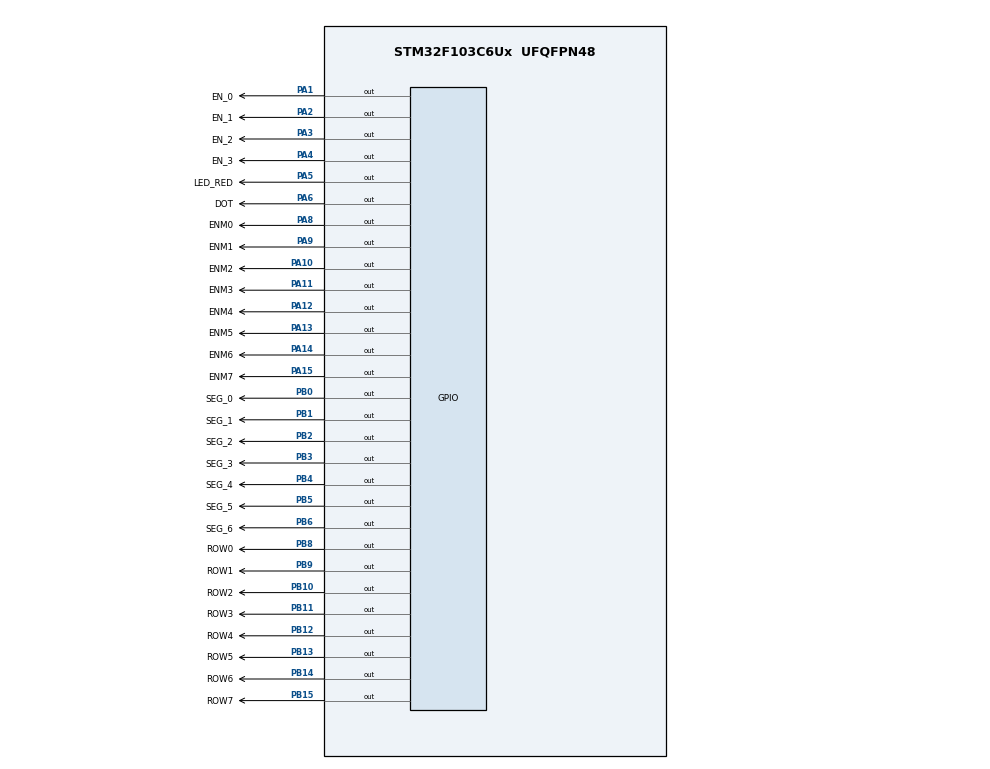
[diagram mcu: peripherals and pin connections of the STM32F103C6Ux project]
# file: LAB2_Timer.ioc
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Mcu.Family=STM32F1
Mcu.Name=STM32F103C6Ux
Mcu.Package=UFQFPN48
NVIC.PriorityGroup=NVIC_PRIORITYGROUP_4
NVIC.TIM2_IRQn=true\:0\:0\:false\:false\:true\:true\:true
PA1.GPIO_Label=EN_0
PA1.Signal=GPIO_Output
PA10.GPIO_Label=ENM2
PA10.PinState=GPIO_PIN_RESET
PA10.Signal=GPIO_Output
PA11.GPIO_Label=ENM3
PA11.PinState=GPIO_PIN_RESET
PA11.Signal=GPIO_Output
PA12.GPIO_Label=ENM4
PA12.PinState=GPIO_PIN_RESET
PA12.Signal=GPIO_Output
PA13.GPIO_Label=ENM5
PA13.PinState=GPIO_PIN_RESET
PA13.Signal=GPIO_Output
PA14.GPIO_Label=ENM6
PA14.PinState=GPIO_PIN_RESET
PA14.Signal=GPIO_Output
PA15.GPIO_Label=ENM7
PA15.PinState=GPIO_PIN_RESET
PA15.Signal=GPIO_Output
PA2.GPIO_Label=EN_1
PA2.Signal=GPIO_Output
PA3.GPIO_Label=EN_2
PA3.Signal=GPIO_Output
PA4.GPIO_Label=EN_3
PA4.Signal=GPIO_Output
PA5.GPIO_Label=LED_RED
PA5.Signal=GPIO_Output
PA6.GPIO_Label=DOT
PA6.Signal=GPIO_Output
PA8.GPIO_Label=ENM0
PA8.PinState=GPIO_PIN_RESET
PA8.Signal=GPIO_Output
PA9.GPIO_Label=ENM1
PA9.PinState=GPIO_PIN_RESET
PA9.Signal=GPIO_Output
PB0.GPIO_Label=SEG_0
PB0.Signal=GPIO_Output
PB1.GPIO_Label=SEG_1
PB1.Signal=GPIO_Output
PB10.GPIO_Label=ROW2
PB10.Signal=GPIO_Output
PB11.GPIO_Label=ROW3
PB11.Signal=GPIO_Output
PB12.GPIO_Label=ROW4
PB12.Signal=GPIO_Output
PB13.GPIO_Label=ROW5
PB13.Signal=GPIO_Output
PB14.GPIO_Label=ROW6
PB14.Signal=GPIO_Output
PB15.GPIO_Label=ROW7
PB15.Signal=GPIO_Output
PB2.GPIO_Label=SEG_2
PB2.Signal=GPIO_Output
PB3.GPIO_Label=SEG_3
PB3.Signal=GPIO_Output
PB4.GPIO_Label=SEG_4
PB4.Signal=GPIO_Output
PB5.GPIO_Label=SEG_5
PB5.Signal=GPIO_Output
PB6.GPIO_Label=SEG_6
PB6.Signal=GPIO_Output
PB8.GPIO_Label=ROW0
PB8.Signal=GPIO_Output
PB9.GPIO_Label=ROW1
PB9.Signal=GPIO_Output
ProjectManager.HeapSize=0x200
ProjectManager.StackSize=0x400
ProjectManager.TargetToolchain=STM32CubeIDE
RCC.APB1Freq_Value=8000000
RCC.APB2Freq_Value=8000000
TIM2.Period=9
TIM2.Prescaler=7999
VP_SYS_VS_ND.Mode=No_Debug
VP_TIM2_VS_ClockSourceINT.Mode=Internal
board=custom

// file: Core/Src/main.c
/* USER CODE BEGIN Header */
/**
  ******************************************************************************
  * @file           : main.c
  * @brief          : Main program body
  ******************************************************************************
  * @attention
  *
  * <h2><center>&copy; Copyright (c) 2024 STMicroelectronics.
  * All rights reserved.</center></h2>
  *
  * This software component is licensed by ST under BSD 3-Clause license,
  * the "License"; You may not use this file except in compliance with the
  * License. You may obtain a copy of the License at:
  *                        opensource.org/licenses/BSD-3-Clause
  *
  ******************************************************************************
  */
/* USER CODE END Header */
#include "main.h"

/* USER CODE BEGIN Includes */
#include "exercise1.h"
#include "exercise2.h"
#include "exercise3.h"
#include "exercise4.h"
#include "exercise5.h"
#include "exercise6.h"
#include "exercise7.h"
#include "exercise8.h"
#include "exercise9.h"
#include "exercise10.h"
/* USER CODE END Includes */

/* USER CODE BEGIN PD */
#define RUN_EXERCISE 10
/* USER CODE END PD */

TIM_HandleTypeDef htim2;

void SystemClock_Config(void);
static void MX_GPIO_Init(void);
static void MX_TIM2_Init(void);
/* USER CODE BEGIN PFP */
void HAL_TIM_PeriodElapsedCallback(TIM_HandleTypeDef *htim);
void setTimer(int idx, int counter);
/* USER CODE END PFP */

int main(void)
{

  /* MCU Configuration--------------------------------------------------------*/

  /* Reset of all peripherals, Initializes the Flash interface and the Systick. */
  HAL_Init();

  /* Configure the system clock */
  SystemClock_Config();

  /* Initialize all configured peripherals */
  MX_GPIO_Init();
  MX_TIM2_Init();
  /* USER CODE BEGIN 2 */
  HAL_TIM_Base_Start_IT(&htim2);

  switch (RUN_EXERCISE)
  {
	  case 1:
		  exercise1_init();
		  break;
	  case 2:
		  exercise2_init();
		  break;
	  case 3:
		  exercise3_init();
		  break;
	  case 4:
		  exercise4_init();
		  break;
	  case 5:
		  exercise5_init();
		  break;
	  case 6:
		  exercise6_init();
		  break;
	  case 7:
		  exercise7_init();
		  break;
	  case 8:
		  exercise8_init();
		  break;
	  case 9:
		  exercise9_init();
		  break;
	  case 10:
		  exercise10_init();
		  break;
	  default:
		  // Do nothing
		  break;
  }
  /* USER CODE END 2 */

  /* Infinite loop */
  /* USER CODE BEGIN WHILE */
  while (1)
  {
	  switch (RUN_EXERCISE)
	  {
		  case 1:
//  	  		  exercise1_init();
			  exercise1_run();
			  break;
		  case 2:
  //			  exercise2_init();
			  exercise2_run();
			  break;
		  case 3:
  //			  exercise3_init();
			  exercise3_run();
			  break;
		  case 4:
  //			  exercise4_init();
			  exercise4_run();
			  break;
		  case 5:
  //			  exercise5_init();
			  exercise5_run();
			  break;
		  case 6:
  //			  exercise6_init();
			  exercise6_run();
			  break;
		  case 7:
//			  exercise7_init();
  			  exercise7_run();
			  break;
		  case 8:
//  			  exercise8_init();
			  exercise8_run();
			  break;
		  case 9:
  //			  exercise9_init();
			  exercise9_run();
			  break;
		  case 10:
  //			  exercise10_init();
			  exercise10_run();
			  break;
		  default:
			  // Do nothing
			  break;
	  }
    /* USER CODE END WHILE */

  }
}

void SystemClock_Config(void)
{
  RCC_OscInitTypeDef RCC_OscInitStruct = {0};
  RCC_ClkInitTypeDef RCC_ClkInitStruct = {0};

  /** Initializes the RCC Oscillators according to the specified parameters
  * in the RCC_OscInitTypeDef structure.
  */
  RCC_OscInitStruct.OscillatorType = RCC_OSCILLATORTYPE_HSI;
  RCC_OscInitStruct.HSIState = RCC_HSI_ON;
  RCC_OscInitStruct.HSICalibrationValue = RCC_HSICALIBRATION_DEFAULT;
  RCC_OscInitStruct.PLL.PLLState = RCC_PLL_NONE;
  if (HAL_RCC_OscConfig(&RCC_OscInitStruct) != HAL_OK)
  {
    Error_Handler();
  }
  /** Initializes the CPU, AHB and APB buses clocks
  */
  RCC_ClkInitStruct.ClockType = RCC_CLOCKTYPE_HCLK|RCC_CLOCKTYPE_SYSCLK
                              |RCC_CLOCKTYPE_PCLK1|RCC_CLOCKTYPE_PCLK2;
  RCC_ClkInitStruct.SYSCLKSource = RCC_SYSCLKSOURCE_HSI;
  RCC_ClkInitStruct.AHBCLKDivider = RCC_SYSCLK_DIV1;
  RCC_ClkInitStruct.APB1CLKDivider = RCC_HCLK_DIV1;
  RCC_ClkInitStruct.APB2CLKDivider = RCC_HCLK_DIV1;

  if (HAL_RCC_ClockConfig(&RCC_ClkInitStruct, FLASH_LATENCY_0) != HAL_OK)
  {
    Error_Handler();
  }
}

static void MX_TIM2_Init(void)
{

  TIM_ClockConfigTypeDef sClockSourceConfig = {0};
  TIM_MasterConfigTypeDef sMasterConfig = {0};

  htim2.Instance = TIM2;
  htim2.Init.Prescaler = 7999;
  htim2.Init.CounterMode = TIM_COUNTERMODE_UP;
  htim2.Init.Period = 9;
  htim2.Init.ClockDivision = TIM_CLOCKDIVISION_DIV1;
  htim2.Init.AutoReloadPreload = TIM_AUTORELOAD_PRELOAD_DISABLE;
  if (HAL_TIM_Base_Init(&htim2) != HAL_OK)
  {
    Error_Handler();
  }
  sClockSourceConfig.ClockSource = TIM_CLOCKSOURCE_INTERNAL;
  if (HAL_TIM_ConfigClockSource(&htim2, &sClockSourceConfig) != HAL_OK)
  {
    Error_Handler();
  }
  sMasterConfig.MasterOutputTrigger = TIM_TRGO_RESET;
  sMasterConfig.MasterSlaveMode = TIM_MASTERSLAVEMODE_DISABLE;
  if (HAL_TIMEx_MasterConfigSynchronization(&htim2, &sMasterConfig) != HAL_OK)
  {
    Error_Handler();
  }

}

static void MX_GPIO_Init(void)
{
  GPIO_InitTypeDef GPIO_InitStruct = {0};

  /* GPIO Ports Clock Enable */
  __HAL_RCC_GPIOA_CLK_ENABLE();
  __HAL_RCC_GPIOB_CLK_ENABLE();

  /*Configure GPIO pin Output Level */
  HAL_GPIO_WritePin(GPIOA, EN_0_Pin|EN_1_Pin|EN_2_Pin|EN_3_Pin
                          |LED_RED_Pin|DOT_Pin|ENM0_Pin|ENM1_Pin
                          |ENM2_Pin|ENM3_Pin|ENM4_Pin|ENM5_Pin
                          |ENM6_Pin|ENM7_Pin, GPIO_PIN_RESET);

  /*Configure GPIO pin Output Level */
  HAL_GPIO_WritePin(GPIOB, SEG_0_Pin|SEG_1_Pin|SEG_2_Pin|ROW2_Pin
                          |ROW3_Pin|ROW4_Pin|ROW5_Pin|ROW6_Pin
                          |ROW7_Pin|SEG_3_Pin|SEG_4_Pin|SEG_5_Pin
                          |SEG_6_Pin|ROW0_Pin|ROW1_Pin, GPIO_PIN_RESET);

  /*Configure GPIO pins : EN_0_Pin EN_1_Pin EN_2_Pin EN_3_Pin
                           LED_RED_Pin DOT_Pin ENM0_Pin ENM1_Pin
                           ENM2_Pin ENM3_Pin ENM4_Pin ENM5_Pin
                           ENM6_Pin ENM7_Pin */
  GPIO_InitStruct.Pin = EN_0_Pin|EN_1_Pin|EN_2_Pin|EN_3_Pin
                          |LED_RED_Pin|DOT_Pin|ENM0_Pin|ENM1_Pin
                          |ENM2_Pin|ENM3_Pin|ENM4_Pin|ENM5_Pin
                          |ENM6_Pin|ENM7_Pin;
  GPIO_InitStruct.Mode = GPIO_MODE_OUTPUT_PP;
  GPIO_InitStruct.Pull = GPIO_NOPULL;
  GPIO_InitStruct.Speed = GPIO_SPEED_FREQ_LOW;
  HAL_GPIO_Init(GPIOA, &GPIO_InitStruct);

  /*Configure GPIO pins : SEG_0_Pin SEG_1_Pin SEG_2_Pin ROW2_Pin
                           ROW3_Pin ROW4_Pin ROW5_Pin ROW6_Pin
                           ROW7_Pin SEG_3_Pin SEG_4_Pin SEG_5_Pin
                           SEG_6_Pin ROW0_Pin ROW1_Pin */
  GPIO_InitStruct.Pin = SEG_0_Pin|SEG_1_Pin|SEG_2_Pin|ROW2_Pin
                          |ROW3_Pin|ROW4_Pin|ROW5_Pin|ROW6_Pin
                          |ROW7_Pin|SEG_3_Pin|SEG_4_Pin|SEG_5_Pin
                          |SEG_6_Pin|ROW0_Pin|ROW1_Pin;
  GPIO_InitStruct.Mode = GPIO_MODE_OUTPUT_PP;
  GPIO_InitStruct.Pull = GPIO_NOPULL;
  GPIO_InitStruct.Speed = GPIO_SPEED_FREQ_LOW;
  HAL_GPIO_Init(GPIOB, &GPIO_InitStruct);

}

/* USER CODE BEGIN 4 */
void HAL_TIM_PeriodElapsedCallback(TIM_HandleTypeDef *htim)
{
	timerRun();
}
/* USER CODE END 4 */

void Error_Handler(void)
{
  __disable_irq();
  while (1)
  {
  }
}

/************************ (C) COPYRIGHT STMicroelectronics *****END OF FILE****/
